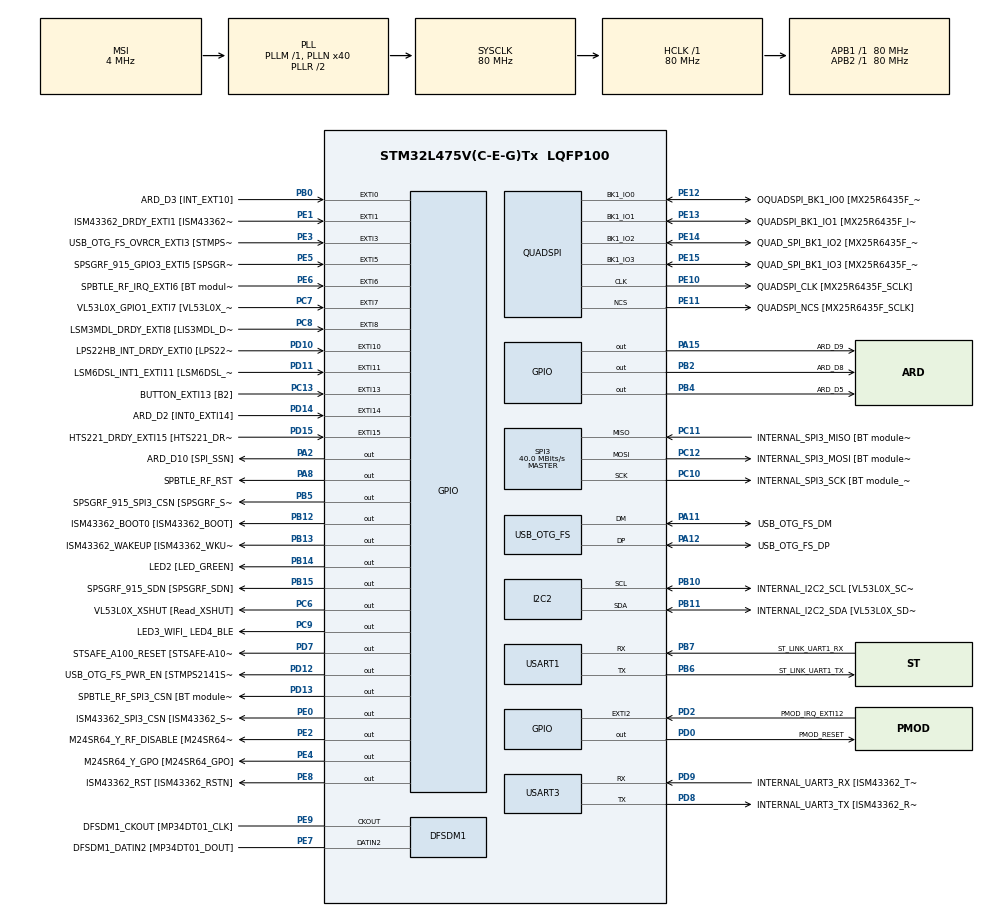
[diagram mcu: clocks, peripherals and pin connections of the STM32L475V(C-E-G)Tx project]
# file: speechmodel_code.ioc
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DFSDM1.Divider=50
DFSDM1.DmaMode_reg_FIL0=ENABLE
DFSDM1.DmaMode_reg_FIL1=ENABLE
DFSDM1.FastMode_reg_FIL0=ENABLE
DFSDM1.FastMode_reg_FIL1=ENABLE
DFSDM1.FilterOrder_CH1=DFSDM_CHANNEL_FASTSINC_ORDER
DFSDM1.FilterOrder_CH2=DFSDM_CHANNEL_FASTSINC_ORDER
DFSDM1.Filter_regChannel_FIL0=DFSDM_CHANNEL_1
DFSDM1.Filter_regChannel_FIL1=DFSDM_CHANNEL_2
DFSDM1.Fosr_FIL0=200
DFSDM1.Fosr_FIL1=200
DFSDM1.Iosr_FIL0=1
DFSDM1.RightBitShift_CH1=0x00
DFSDM1.SincOrder_FIL0=DFSDM_FILTER_SINC3_ORDER
DFSDM1.SincOrder_FIL1=DFSDM_FILTER_SINC3_ORDER
DFSDM1.Type_spi_CH2=DFSDM_CHANNEL_SPI_FALLING
Dma.DFSDM1_FLT0.0.Direction=DMA_PERIPH_TO_MEMORY
Dma.DFSDM1_FLT0.0.Instance=DMA1_Channel4
Dma.DFSDM1_FLT0.0.MemDataAlignment=DMA_MDATAALIGN_HALFWORD
Dma.DFSDM1_FLT0.0.MemInc=DMA_MINC_ENABLE
Dma.DFSDM1_FLT0.0.Mode=DMA_CIRCULAR
Dma.DFSDM1_FLT0.0.PeriphDataAlignment=DMA_PDATAALIGN_HALFWORD
Dma.DFSDM1_FLT0.0.PeriphInc=DMA_PINC_DISABLE
Dma.DFSDM1_FLT0.0.Priority=DMA_PRIORITY_HIGH
Dma.DFSDM1_FLT1.1.Direction=DMA_PERIPH_TO_MEMORY
Dma.DFSDM1_FLT1.1.Instance=DMA1_Channel5
Dma.DFSDM1_FLT1.1.MemDataAlignment=DMA_MDATAALIGN_HALFWORD
Dma.DFSDM1_FLT1.1.MemInc=DMA_MINC_ENABLE
Dma.DFSDM1_FLT1.1.Mode=DMA_CIRCULAR
Dma.DFSDM1_FLT1.1.PeriphDataAlignment=DMA_PDATAALIGN_HALFWORD
Dma.DFSDM1_FLT1.1.PeriphInc=DMA_PINC_DISABLE
Dma.DFSDM1_FLT1.1.Priority=DMA_PRIORITY_HIGH
Dma.Request0=DFSDM1_FLT0
Dma.Request1=DFSDM1_FLT1
I2C2.Timing=0x10909CEC
Mcu.Family=STM32L4
Mcu.Name=STM32L475V(C-E-G)Tx
Mcu.Package=LQFP100
NVIC.DMA1_Channel4_IRQn=true\:0\:0\:false\:false\:true\:false\:true\:true
NVIC.DMA1_Channel5_IRQn=true\:0\:0\:false\:false\:true\:false\:true\:true
NVIC.EXTI15_10_IRQn=true\:0\:0\:false\:false\:true\:true\:true\:true
NVIC.EXTI9_5_IRQn=true\:0\:0\:false\:false\:true\:true\:true\:true
NVIC.PriorityGroup=NVIC_PRIORITYGROUP_4
PA0.GPIO_Label=ARD_D1 [UART4_TX]
PA0.Signal=UART4_TX
PA1.GPIO_Label=ARD_D0 [UART4_RX]
PA1.Signal=UART4_RX
PA10.GPIO_Label=USB_OTG_FS_ID
PA10.Signal=USB_OTG_FS_ID
PA11.GPIO_Label=USB_OTG_FS_DM
PA11.Mode=Device_Only
PA11.Signal=USB_OTG_FS_DM
PA12.GPIO_Label=USB_OTG_FS_DP
PA12.Mode=Device_Only
PA12.Signal=USB_OTG_FS_DP
PA13\ (JTMS-SWDIO).GPIO_Label=SYS_JTMS_SWDIO
PA13\ (JTMS-SWDIO).Mode=Serial_Wire
PA13\ (JTMS-SWDIO).Signal=SYS_JTMS-SWDIO
PA14\ (JTCK-SWCLK).GPIO_Label=SYS_JTCK_SWCLK
PA14\ (JTCK-SWCLK).Mode=Serial_Wire
PA14\ (JTCK-SWCLK).Signal=SYS_JTCK-SWCLK
PA15\ (JTDI).GPIO_Label=ARD_D9
PA15\ (JTDI).Signal=GPIO_Output
PA2.GPIO_Label=ARD_D10 [SPI_SSN]
PA2.Signal=GPIO_Output
PA3.GPIO_Label=ARD_D4
PA3.Signal=S_TIM2_CH4
PA4.GPIO_Label=ARD_D7
PA4.Signal=ADCx_IN9
PA5.GPIO_Label=ARD_D13 [SPI1_SCK]
PA5.Signal=SPI1_SCK
PA6.GPIO_Label=ARD_D12 [SPI1_MISO]
PA6.Signal=SPI1_MISO
PA7.GPIO_Label=ARD_D11 [SPI1_MOSI]
PA7.Signal=SPI1_MOSI
PA8.GPIO_Label=SPBTLE_RF_RST
PA8.Signal=GPIO_Output
PA9.GPIO_Label=USB_OTG_FS_VBUS [STMPS2141STR_OUT]
PA9.Signal=USB_OTG_FS_VBUS
PB0.GPIO_Label=ARD_D3 [INT_EXT10]
PB0.Signal=GPXTI0
PB1.GPIO_Label=ARD_D6 [ADC1_IN6]
PB1.Signal=ADCx_IN16
PB10.GPIO_Label=INTERNAL_I2C2_SCL [VL53L0X_SCL]
PB10.GPIO_Pu=GPIO_PULLUP
PB10.Mode=I2C
PB10.Signal=I2C2_SCL
PB11.GPIO_Label=INTERNAL_I2C2_SDA [VL53L0X_SDA]
PB11.GPIO_Pu=GPIO_PULLUP
PB11.Mode=I2C
PB11.Signal=I2C2_SDA
PB12.GPIO_Label=ISM43362_BOOT0 [ISM43362_BOOT]
PB12.Signal=GPIO_Output
PB13.GPIO_Label=ISM43362_WAKEUP [ISM43362_WKUP]
PB13.Signal=GPIO_Output
PB14.GPIO_Label=LED2 [LED_GREEN]
PB14.Signal=GPIO_Output
PB15.GPIO_Label=SPSGRF_915_SDN [SPSGRF_SDN]
PB15.Signal=GPIO_Output
PB2.GPIO_Label=ARD_D8
PB2.Signal=GPIO_Output
PB3\ (JTDO-TRACESWO).GPIO_Label=SYS_JTD0_SWO
PB3\ (JTDO-TRACESWO).Signal=SYS_JTDO-SWO
PB4\ (NJTRST).GPIO_Label=ARD_D5
PB4\ (NJTRST).Signal=GPIO_Output
PB5.GPIO_Label=SPSGRF_915_SPI3_CSN [SPSGRF_SPI_CS]
PB5.PinState=GPIO_PIN_SET
PB5.Signal=GPIO_Output
PB6.GPIO_Label=ST_LINK_UART1_TX
PB6.Mode=Asynchronous
PB6.Signal=USART1_TX
PB7.GPIO_Label=ST_LINK_UART1_RX
PB7.Mode=Asynchronous
PB7.Signal=USART1_RX
PB8.GPIO_Label=ARD_D15 [I2C1_SCL]
PB8.Signal=I2C1_SCL
PB9.GPIO_Label=ARD_D14 [I2C1_SDA]
PB9.Signal=I2C1_SDA
PC0.GPIO_Label=ARD_A5 [ADC]
PC0.Signal=ADCx_IN1
PC1.GPIO_Label=ARD_A4 [ADC]
PC1.Signal=ADCx_IN2
PC10.GPIO_Label=INTERNAL_SPI3_SCK [BT module_SPI_SCLK] [ISM43362_SCK]
PC10.Mode=Full_Duplex_Master
PC10.Signal=SPI3_SCK
PC11.GPIO_Label=INTERNAL_SPI3_MISO [BT module_SPI_MISO] [ISM43362_MISO]
PC11.Mode=Full_Duplex_Master
PC11.Signal=SPI3_MISO
PC12.GPIO_Label=INTERNAL_SPI3_MOSI [BT module_SPI_MOSI] [ISM43362_MOSI]
PC12.Mode=Full_Duplex_Master
PC12.Signal=SPI3_MOSI
PC13.GPIO_Label=BUTTON_EXTI13 [B2]
PC13.GPIO_ModeDefaultEXTI=GPIO_MODE_IT_FALLING
PC13.Signal=GPXTI13
PC14-OSC32_IN\ (PC14).Mode=LSE-External-Oscillator
PC14-OSC32_IN\ (PC14).Signal=RCC_OSC32_IN
PC15-OSC32_OUT\ (PC15).Mode=LSE-External-Oscillator
PC15-OSC32_OUT\ (PC15).Signal=RCC_OSC32_OUT
PC2.GPIO_Label=ARD_A3 [ADC]
PC2.Signal=ADCx_IN3
PC3.GPIO_Label=ARD_A2 [ADC]
PC3.Signal=ADCx_IN4
PC4.GPIO_Label=ARD_A1 [ADC]
PC4.Signal=ADCx_IN13
PC5.GPIO_Label=ARD_A0 [ADC]
PC5.Signal=ADCx_IN14
PC6.GPIO_Label=VL53L0X_XSHUT [Read_XSHUT]
PC6.Signal=GPIO_Output
PC7.GPIO_Label=VL53L0X_GPIO1_EXTI7 [VL53L0X_GPIO1]
PC7.Signal=GPXTI7
PC8.GPIO_Label=LSM3MDL_DRDY_EXTI8 [LIS3MDL_DRDY]
PC8.Signal=GPXTI8
PC9.GPIO_Label=LED3_WIFI_ LED4_BLE
PC9.Signal=GPIO_Output
PD0.GPIO_Label=PMOD_RESET
PD0.Signal=GPIO_Output
PD1.GPIO_Label=PMOD_SPI2_SCK
PD1.Signal=SPI2_SCK
PD10.GPIO_Label=LPS22HB_INT_DRDY_EXTI0 [LPS22HB_INT_DRDY] 
PD10.Signal=GPXTI10
PD11.GPIO_Label=LSM6DSL_INT1_EXTI11 [LSM6DSL_INT1]
PD11.Signal=GPXTI11
PD12.GPIO_Label=USB_OTG_FS_PWR_EN [STMPS2141STR_EN]
PD12.Signal=GPIO_Output
PD13.GPIO_Label=SPBTLE_RF_SPI3_CSN [BT module_SPI_CS]
PD13.PinState=GPIO_PIN_SET
PD13.Signal=GPIO_Output
PD14.GPIO_Label=ARD_D2 [INT0_EXTI14]
PD14.Signal=GPXTI14
PD15.GPIO_Label=HTS221_DRDY_EXTI15 [HTS221_DRDY]
PD15.Signal=GPXTI15
PD2.GPIO_Label=PMOD_IRQ_EXTI12
PD2.Signal=GPXTI2
PD3.GPIO_Label=PMOD_UART2_CTS
PD3.Signal=USART2_CTS
PD4.GPIO_Label=PMOD_UART2_RTS
PD4.Signal=USART2_RTS
PD5.GPIO_Label=PMOD_UART2_TX
PD5.Signal=USART2_TX
PD6.GPIO_Label=PMOD_UART2_RX
PD6.Signal=USART2_RX
PD7.GPIO_Label=STSAFE_A100_RESET [STSAFE-A100_RESET]
PD7.Signal=GPIO_Output
PD8.GPIO_Label=INTERNAL_UART3_TX [ISM43362_RX]
PD8.Mode=Asynchronous
PD8.Signal=USART3_TX
PD9.GPIO_Label=INTERNAL_UART3_RX [ISM43362_TX]
PD9.Mode=Asynchronous
PD9.Signal=USART3_RX
PE0.GPIO_Label=ISM43362_SPI3_CSN [ISM43362_SSN]
PE0.PinState=GPIO_PIN_SET
PE0.Signal=GPIO_Output
PE1.GPIO_Label=ISM43362_DRDY_EXTI1 [ISM43362_DATARDY]
PE1.Signal=GPXTI1
PE10.GPIO_Label=QUADSPI_CLK [MX25R6435F_SCLK]
PE10.Mode=Single Bank
PE10.Signal=QUADSPI_CLK
PE11.GPIO_Label=QUADSPI_NCS [MX25R6435F_SCLK]
PE11.Mode=Single Bank
PE11.Signal=QUADSPI_NCS
PE12.GPIO_Label=OQUADSPI_BK1_IO0 [MX25R6435F_IO0]
PE12.Mode=Single Bank
PE12.Signal=QUADSPI_BK1_IO0
PE13.GPIO_Label=QUADSPI_BK1_IO1 [MX25R6435F_IO1]
PE13.Mode=Single Bank
PE13.Signal=QUADSPI_BK1_IO1
PE14.GPIO_Label=QUAD_SPI_BK1_IO2 [MX25R6435F_IO2]
PE14.Mode=Single Bank
PE14.Signal=QUADSPI_BK1_IO2
PE15.GPIO_Label=QUAD_SPI_BK1_IO3 [MX25R6435F_IO3]
PE15.Mode=Single Bank
PE15.Signal=QUADSPI_BK1_IO3
PE2.GPIO_Label=M24SR64_Y_RF_DISABLE [M24SR64_RFDIS]
PE2.Signal=GPIO_Output
PE3.GPIO_Label=USB_OTG_FS_OVRCR_EXTI3 [STMPS2141STR_FAULT]
PE3.Signal=GPXTI3
PE4.GPIO_Label=M24SR64_Y_GPO [M24SR64_GPO]
PE4.Signal=GPIO_Output
PE5.GPIO_Label=SPSGRF_915_GPIO3_EXTI5 [SPSGRF_GPIO_3]
PE5.Signal=GPXTI5
PE6.GPIO_Label=SPBTLE_RF_IRQ_EXTI6 [BT module_SPI_IRQ]
PE6.Signal=GPXTI6
PE7.GPIO_Label=DFSDM1_DATIN2 [MP34DT01_DOUT]
PE7.Signal=S_DATAIN2DFSDM1
PE8.GPIO_Label=ISM43362_RST [ISM43362_RSTN]
PE8.Signal=GPIO_Output
PE9.GPIO_Label=DFSDM1_CKOUT [MP34DT01_CLK]
PE9.Signal=S_CKOUTDFSDM1
ProjectManager.HeapSize=0x800
ProjectManager.StackSize=0x800
ProjectManager.TargetToolchain=Makefile
QUADSPI.ClockPrescaler=2
QUADSPI.FifoThreshold=4
QUADSPI.FlashSize=23
QUADSPI.SampleShifting=QSPI_SAMPLE_SHIFTING_HALFCYCLE
RCC.ADCFreq_Value=48000000
RCC.AHBFreq_Value=80000000
RCC.APB1Freq_Value=80000000
RCC.APB1TimFreq_Value=80000000
RCC.APB2Freq_Value=80000000
RCC.APB2TimFreq_Value=80000000
RCC.CortexFreq_Value=80000000
RCC.HCLKFreq_Value=80000000
RCC.HSE_VALUE=8000000
RCC.HSI_VALUE=16000000
RCC.MSI_VALUE=4000000
RCC.PLLN=40
RCC.PLLSAI1N=24
RCC.SYSCLKFreq_VALUE=80000000
RCC.SYSCLKSource=RCC_SYSCLKSOURCE_PLLCLK
RCC.USBFreq_Value=48000000
RCC.VCOOutputFreq_Value=160000000
SH.ADCx_IN1.0=ADC1_IN1
SH.ADCx_IN13.0=ADC1_IN13
SH.ADCx_IN14.0=ADC1_IN14
SH.ADCx_IN16.0=ADC1_IN16
SH.ADCx_IN2.0=ADC1_IN2
SH.ADCx_IN3.0=ADC1_IN3
SH.ADCx_IN4.0=ADC1_IN4
SH.ADCx_IN9.0=ADC1_IN9
SH.S_CKOUTDFSDM1.0=DFSDM1_CKOUT,CKOUT
SH.S_CKOUTDFSDM1.1=DFSDM1_CKOUT,PDM_SPI_Input_from_ch12_and_Internal_Clock
SH.S_CKOUTDFSDM1.2=DFSDM1_CKOUT,PDM_SPI_input_from_ch2_and_internal_clock
SH.S_DATAIN2DFSDM1.0=DFSDM1_DATIN2,PDM_SPI_Input_from_ch12_and_Internal_Clock
SH.S_DATAIN2DFSDM1.1=DFSDM1_DATIN2,PDM_SPI_input_from_ch2_and_internal_clock
SH.S_TIM2_CH4.0=TIM2_CH4
SPI3.CalculateBaudRate=40.0 MBits/s
SPI3.Direction=SPI_DIRECTION_2LINES
SPI3.Mode=SPI_MODE_MASTER
SPI3.VirtualType=VM_MASTER
STMicroelectronics.X-CUBE-AI.8.1.0.ActivationBufferSizeList=64288
STMicroelectronics.X-CUBE-AI.8.1.0.ActivationBuffers=pool0
STMicroelectronics.X-CUBE-AI.8.1.0.ActivationNames=pool0
STMicroelectronics.X-CUBE-AI.8.1.0.ActivationSizes=AI_SPEECH_DATA_ACTIVATION_1_SIZE
STMicroelectronics.X-CUBE-AI.8.1.0.ApplicationCcDeviceJjApplication=ApplicationTemplate
STMicroelectronics.X-CUBE-AI.8.1.0.HeapSize=0x800
STMicroelectronics.X-CUBE-AI.8.1.0.InternalRamActivationBufferMaxSize=AI_SPEECH_DATA_ACTIVATIONS_SIZE
STMicroelectronics.X-CUBE-AI.8.1.0.LatestDirectoryUsed-5024f5ebc0015fcbfd030fa10bb32df04086baa16817f095d9bf21b7321e0f96=/home/nb/repos/speech_commands
STMicroelectronics.X-CUBE-AI.8.1.0.MaximumNumberOfInputLayer=1
STMicroelectronics.X-CUBE-AI.8.1.0.MaximumNumberOfOutputLayer=1
STMicroelectronics.X-CUBE-AI.8.1.0.MaximumSizeOfInputLayer=1
STMicroelectronics.X-CUBE-AI.8.1.0.MaximumSizeOfOutputLayer=1
STMicroelectronics.X-CUBE-AI.8.1.0.ModelActualCompression-5024f5ebc0015fcbfd030fa10bb32df04086baa16817f095d9bf21b7321e0f96=0.0
STMicroelectronics.X-CUBE-AI.8.1.0.ModelCompression-5024f5ebc0015fcbfd030fa10bb32df04086baa16817f095d9bf21b7321e0f96=None
STMicroelectronics.X-CUBE-AI.8.1.0.ModelFlashOccupation-5024f5ebc0015fcbfd030fa10bb32df04086baa16817f095d9bf21b7321e0f96=128144
STMicroelectronics.X-CUBE-AI.8.1.0.ModelHashList=5024f5ebc0015fcbfd030fa10bb32df04086baa16817f095d9bf21b7321e0f96
STMicroelectronics.X-CUBE-AI.8.1.0.ModelKind-5024f5ebc0015fcbfd030fa10bb32df04086baa16817f095d9bf21b7321e0f96=ONNX
STMicroelectronics.X-CUBE-AI.8.1.0.ModelMacc-5024f5ebc0015fcbfd030fa10bb32df04086baa16817f095d9bf21b7321e0f96=818760
STMicroelectronics.X-CUBE-AI.8.1.0.ModelName-5024f5ebc0015fcbfd030fa10bb32df04086baa16817f095d9bf21b7321e0f96=speech
STMicroelectronics.X-CUBE-AI.8.1.0.ModelNameList=speech
STMicroelectronics.X-CUBE-AI.8.1.0.ModelRamOccupation-5024f5ebc0015fcbfd030fa10bb32df04086baa16817f095d9bf21b7321e0f96=64288
STMicroelectronics.X-CUBE-AI.8.1.0.ModelStructureFile-5024f5ebc0015fcbfd030fa10bb32df04086baa16817f095d9bf21b7321e0f96=/home/nb/repos/speech_commands/model_onnx_8000hz.onnx
STMicroelectronics.X-CUBE-AI.8.1.0.ModelType-5024f5ebc0015fcbfd030fa10bb32df04086baa16817f095d9bf21b7321e0f96=Saved model
STMicroelectronics.X-CUBE-AI.8.1.0.ReadyForCodeGeneration=true
STMicroelectronics.X-CUBE-AI.8.1.0.StackSize=0x800
STMicroelectronics.X-CUBE-AI.8.1.0.WorkingBufferStartAddrList=0xFFFFFFFF
STMicroelectronics.X-CUBE-AI.8.1.0.XAaCUBEAaAICcArtificialOoIntelligenceJjCore=true
STMicroelectronics.X-CUBE-AI.8.1.0.copyWeightToRam=false
STMicroelectronics.X-CUBE-AI.8.1.0.copyWeightToRam-5024f5ebc0015fcbfd030fa10bb32df04086baa16817f095d9bf21b7321e0f96=false
STMicroelectronics.X-CUBE-AI.8.1.0.customLayerConfigEnabled=false
STMicroelectronics.X-CUBE-AI.8.1.0.customLayerConfigEnabled-5024f5ebc0015fcbfd030fa10bb32df04086baa16817f095d9bf21b7321e0f96=false
STMicroelectronics.X-CUBE-AI.8.1.0.noOnnxIoTranspose=false
STMicroelectronics.X-CUBE-AI.8.1.0.noOnnxIoTranspose-5024f5ebc0015fcbfd030fa10bb32df04086baa16817f095d9bf21b7321e0f96=false
STMicroelectronics.X-CUBE-AI.8.1.0.outputDirectory=/home/nb/.stm32cubemx/speech_output
STMicroelectronics.X-CUBE-AI.8.1.0.outputDirectory-5024f5ebc0015fcbfd030fa10bb32df04086baa16817f095d9bf21b7321e0f96=/home/nb/.stm32cubemx/speech_output
STMicroelectronics.X-CUBE-AI.8.1.0.useInputAllocation=true
STMicroelectronics.X-CUBE-AI.8.1.0.useInputAllocation-5024f5ebc0015fcbfd030fa10bb32df04086baa16817f095d9bf21b7321e0f96=true
STMicroelectronics.X-CUBE-AI.8.1.0.useOutputAllocation=true
STMicroelectronics.X-CUBE-AI.8.1.0.useOutputAllocation-5024f5ebc0015fcbfd030fa10bb32df04086baa16817f095d9bf21b7321e0f96=true
USART1.VirtualMode-Asynchronous=VM_ASYNC
USART3.VirtualMode-Asynchronous=VM_ASYNC
USB_OTG_FS.VirtualMode=Device_Only
VP_CRC_VS_CRC.Mode=CRC_Activate
VP_STMicroelectronics.X-CUBE-AI_VS_ArtificialOoIntelligenceJjXAaCUBEAaAI_8.1.0.Mode=ArtificialOoIntelligenceJjXAaCUBEAaAI
VP_STMicroelectronics.X-CUBE-AI_VS_DeviceJjApplication_8.1.0.Mode=DeviceJjApplication
board=B-L475E-IOT01A1

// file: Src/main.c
/* USER CODE BEGIN Header */
/**
  ******************************************************************************
  * @file           : main.c
  * @brief          : Main program body
  ******************************************************************************
  * @attention
  *
  * Copyright (c) 2023 STMicroelectronics.
  * All rights reserved.
  *
  * This software is licensed under terms that can be found in the LICENSE file
  * in the root directory of this software component.
  * If no LICENSE file comes with this software, it is provided AS-IS.
  *
  ******************************************************************************
  */
/* USER CODE END Header */
#include "main.h"
#include "app_x-cube-ai.h"

/* USER CODE BEGIN Includes */
#include <stdlib.h>
#include <stdio.h>

/* USER CODE END Includes */

CRC_HandleTypeDef hcrc;

DFSDM_Filter_HandleTypeDef hdfsdm1_filter0;
DFSDM_Filter_HandleTypeDef hdfsdm1_filter1;
DFSDM_Channel_HandleTypeDef hdfsdm1_channel1;
DFSDM_Channel_HandleTypeDef hdfsdm1_channel2;
DMA_HandleTypeDef hdma_dfsdm1_flt0;
DMA_HandleTypeDef hdma_dfsdm1_flt1;

I2C_HandleTypeDef hi2c2;

QSPI_HandleTypeDef hqspi;

SPI_HandleTypeDef hspi3;

UART_HandleTypeDef huart1;
UART_HandleTypeDef huart3;

PCD_HandleTypeDef hpcd_USB_OTG_FS;

/* USER CODE BEGIN PV */
#define DMA_CHUNK_SIZE 2000
#define DMA_HALF_CHUNK_SIZE DMA_CHUNK_SIZE/2
volatile static int16_t input_buf_l[DMA_CHUNK_SIZE] __attribute__((aligned(4)));
/* USER CODE END PV */

void SystemClock_Config(void);
static void MX_GPIO_Init(void);
static void MX_DMA_Init(void);
static void MX_CRC_Init(void);
static void MX_DFSDM1_Init(void);
static void MX_I2C2_Init(void);
static void MX_QUADSPI_Init(void);
static void MX_SPI3_Init(void);
static void MX_USART1_UART_Init(void);
static void MX_USART3_UART_Init(void);
static void MX_USB_OTG_FS_PCD_Init(void);

/* USER CODE BEGIN 0 */
int _write(int file, char *ptr, int len) {
    // Implement USART write
    HAL_UART_Transmit(&huart1, (uint8_t *)ptr, len, 10); // Transmit data over USART
    return len; // Return the number of characters written
}
/* USER CODE END 0 */

int main(void)
{

  /* MCU Configuration--------------------------------------------------------*/

  /* Reset of all peripherals, Initializes the Flash interface and the Systick. */
  HAL_Init();

  /* Configure the system clock */
  SystemClock_Config();

  /* Initialize all configured peripherals */
  MX_GPIO_Init();
  MX_DMA_Init();
  MX_CRC_Init();
  MX_DFSDM1_Init();
  MX_I2C2_Init();
  MX_QUADSPI_Init();
  MX_SPI3_Init();
  MX_USART1_UART_Init();
  MX_USART3_UART_Init();
  MX_USB_OTG_FS_PCD_Init();
  MX_X_CUBE_AI_Init();
  /* USER CODE BEGIN 2 */

  printf("Attempting init of fdsdm\n\r");
  // Hacky: We HAL_FDSDM_FilterRegularStart_DMA expects pointers to
  // 32bit arrays and a read length in multiples of 32bit. However,
  // we configured the DMA to be operating on half-words and read 8000 16bit values to conserve memory.
      //Use this instead once we don't right shift by 8 bits anymore:
      //Even without the 8bit shift, we can't read 8000 samples here.
      //The length might be in 32bit. Unclear.
  if (HAL_DFSDM_FilterRegularMsbStart_DMA(&hdfsdm1_filter1, input_buf_l , DMA_CHUNK_SIZE ) != HAL_OK){
  // This might help:
  //https://codebrowser.dev/linux/linux/drivers/iio/adc/stm32-dfsdm-adc.c.html#stm32h7_dfsdm_audio_data
  //Most promising:
  //https://github.com/ryankurte/stm32-base/blob/master/drivers/BSP/STM32F769I-Discovery/stm32f769i_discovery_audio.c#L1731
  //if (HAL_DFSDM_FilterRegularStart_DMA(&hdfsdm1_filter1, input_buf_l , 8000 ) != HAL_OK){
    printf("FDSDM Filter 0 failed\n\r");
  }else{
    printf("FDSDM Filter 0 ok\n\r");
  }

  int f_s = SystemCoreClock / hdfsdm1_channel2.Init.OutputClock.Divider
      / hdfsdm1_filter0.Init.FilterParam.Oversampling
      / hdfsdm1_filter0.Init.FilterParam.IntOversampling;

  printf("audio_sampling_frequence:%i Hz \n\r", f_s);
  /* USER CODE END 2 */

  /* Infinite loop */
  /* USER CODE BEGIN WHILE */
  printf("Init Complete\n\r");
  // Just want to check if this actually exists.
  while (1)
  {
    /* USER CODE END WHILE */

  MX_X_CUBE_AI_Process();
  }
}

void SystemClock_Config(void)
{
  RCC_OscInitTypeDef RCC_OscInitStruct = {0};
  RCC_ClkInitTypeDef RCC_ClkInitStruct = {0};

  /** Configure the main internal regulator output voltage
  */
  if (HAL_PWREx_ControlVoltageScaling(PWR_REGULATOR_VOLTAGE_SCALE1) != HAL_OK)
  {
    Error_Handler();
  }

  /** Configure LSE Drive Capability
  */
  HAL_PWR_EnableBkUpAccess();
  __HAL_RCC_LSEDRIVE_CONFIG(RCC_LSEDRIVE_LOW);

  /** Initializes the RCC Oscillators according to the specified parameters
  * in the RCC_OscInitTypeDef structure.
  */
  RCC_OscInitStruct.OscillatorType = RCC_OSCILLATORTYPE_LSE|RCC_OSCILLATORTYPE_MSI;
  RCC_OscInitStruct.LSEState = RCC_LSE_ON;
  RCC_OscInitStruct.MSIState = RCC_MSI_ON;
  RCC_OscInitStruct.MSICalibrationValue = 0;
  RCC_OscInitStruct.MSIClockRange = RCC_MSIRANGE_6;
  RCC_OscInitStruct.PLL.PLLState = RCC_PLL_ON;
  RCC_OscInitStruct.PLL.PLLSource = RCC_PLLSOURCE_MSI;
  RCC_OscInitStruct.PLL.PLLM = 1;
  RCC_OscInitStruct.PLL.PLLN = 40;
  RCC_OscInitStruct.PLL.PLLP = RCC_PLLP_DIV7;
  RCC_OscInitStruct.PLL.PLLQ = RCC_PLLQ_DIV2;
  RCC_OscInitStruct.PLL.PLLR = RCC_PLLR_DIV2;
  if (HAL_RCC_OscConfig(&RCC_OscInitStruct) != HAL_OK)
  {
    Error_Handler();
  }

  /** Initializes the CPU, AHB and APB buses clocks
  */
  RCC_ClkInitStruct.ClockType = RCC_CLOCKTYPE_HCLK|RCC_CLOCKTYPE_SYSCLK
                              |RCC_CLOCKTYPE_PCLK1|RCC_CLOCKTYPE_PCLK2;
  RCC_ClkInitStruct.SYSCLKSource = RCC_SYSCLKSOURCE_PLLCLK;
  RCC_ClkInitStruct.AHBCLKDivider = RCC_SYSCLK_DIV1;
  RCC_ClkInitStruct.APB1CLKDivider = RCC_HCLK_DIV1;
  RCC_ClkInitStruct.APB2CLKDivider = RCC_HCLK_DIV1;

  if (HAL_RCC_ClockConfig(&RCC_ClkInitStruct, FLASH_LATENCY_4) != HAL_OK)
  {
    Error_Handler();
  }

  /** Enable MSI Auto calibration
  */
  HAL_RCCEx_EnableMSIPLLMode();
}

static void MX_CRC_Init(void)
{

  hcrc.Instance = CRC;
  hcrc.Init.DefaultPolynomialUse = DEFAULT_POLYNOMIAL_ENABLE;
  hcrc.Init.DefaultInitValueUse = DEFAULT_INIT_VALUE_ENABLE;
  hcrc.Init.InputDataInversionMode = CRC_INPUTDATA_INVERSION_NONE;
  hcrc.Init.OutputDataInversionMode = CRC_OUTPUTDATA_INVERSION_DISABLE;
  hcrc.InputDataFormat = CRC_INPUTDATA_FORMAT_BYTES;
  if (HAL_CRC_Init(&hcrc) != HAL_OK)
  {
    Error_Handler();
  }

}

static void MX_DFSDM1_Init(void)
{

  hdfsdm1_filter0.Instance = DFSDM1_Filter0;
  hdfsdm1_filter0.Init.RegularParam.Trigger = DFSDM_FILTER_SW_TRIGGER;
  hdfsdm1_filter0.Init.RegularParam.FastMode = ENABLE;
  hdfsdm1_filter0.Init.RegularParam.DmaMode = ENABLE;
  hdfsdm1_filter0.Init.FilterParam.SincOrder = DFSDM_FILTER_SINC3_ORDER;
  hdfsdm1_filter0.Init.FilterParam.Oversampling = 200;
  hdfsdm1_filter0.Init.FilterParam.IntOversampling = 1;
  if (HAL_DFSDM_FilterInit(&hdfsdm1_filter0) != HAL_OK)
  {
    Error_Handler();
  }
  hdfsdm1_filter1.Instance = DFSDM1_Filter1;
  hdfsdm1_filter1.Init.RegularParam.Trigger = DFSDM_FILTER_SW_TRIGGER;
  hdfsdm1_filter1.Init.RegularParam.FastMode = ENABLE;
  hdfsdm1_filter1.Init.RegularParam.DmaMode = ENABLE;
  hdfsdm1_filter1.Init.FilterParam.SincOrder = DFSDM_FILTER_SINC3_ORDER;
  hdfsdm1_filter1.Init.FilterParam.Oversampling = 200;
  hdfsdm1_filter1.Init.FilterParam.IntOversampling = 1;
  if (HAL_DFSDM_FilterInit(&hdfsdm1_filter1) != HAL_OK)
  {
    Error_Handler();
  }
  hdfsdm1_channel1.Instance = DFSDM1_Channel1;
  hdfsdm1_channel1.Init.OutputClock.Activation = ENABLE;
  hdfsdm1_channel1.Init.OutputClock.Selection = DFSDM_CHANNEL_OUTPUT_CLOCK_SYSTEM;
  hdfsdm1_channel1.Init.OutputClock.Divider = 50;
  hdfsdm1_channel1.Init.Input.Multiplexer = DFSDM_CHANNEL_EXTERNAL_INPUTS;
  hdfsdm1_channel1.Init.Input.DataPacking = DFSDM_CHANNEL_STANDARD_MODE;
  hdfsdm1_channel1.Init.Input.Pins = DFSDM_CHANNEL_FOLLOWING_CHANNEL_PINS;
  hdfsdm1_channel1.Init.SerialInterface.Type = DFSDM_CHANNEL_SPI_RISING;
  hdfsdm1_channel1.Init.SerialInterface.SpiClock = DFSDM_CHANNEL_SPI_CLOCK_INTERNAL;
  hdfsdm1_channel1.Init.Awd.FilterOrder = DFSDM_CHANNEL_FASTSINC_ORDER;
  hdfsdm1_channel1.Init.Awd.Oversampling = 1;
  hdfsdm1_channel1.Init.Offset = 0;
  hdfsdm1_channel1.Init.RightBitShift = 0x00;
  if (HAL_DFSDM_ChannelInit(&hdfsdm1_channel1) != HAL_OK)
  {
    Error_Handler();
  }
  hdfsdm1_channel2.Instance = DFSDM1_Channel2;
  hdfsdm1_channel2.Init.OutputClock.Activation = ENABLE;
  hdfsdm1_channel2.Init.OutputClock.Selection = DFSDM_CHANNEL_OUTPUT_CLOCK_SYSTEM;
  hdfsdm1_channel2.Init.OutputClock.Divider = 50;
  hdfsdm1_channel2.Init.Input.Multiplexer = DFSDM_CHANNEL_EXTERNAL_INPUTS;
  hdfsdm1_channel2.Init.Input.DataPacking = DFSDM_CHANNEL_STANDARD_MODE;
  hdfsdm1_channel2.Init.Input.Pins = DFSDM_CHANNEL_SAME_CHANNEL_PINS;
  hdfsdm1_channel2.Init.SerialInterface.Type = DFSDM_CHANNEL_SPI_FALLING;
  hdfsdm1_channel2.Init.SerialInterface.SpiClock = DFSDM_CHANNEL_SPI_CLOCK_INTERNAL;
  hdfsdm1_channel2.Init.Awd.FilterOrder = DFSDM_CHANNEL_FASTSINC_ORDER;
  hdfsdm1_channel2.Init.Awd.Oversampling = 1;
  hdfsdm1_channel2.Init.Offset = 0;
  hdfsdm1_channel2.Init.RightBitShift = 0x00;
  if (HAL_DFSDM_ChannelInit(&hdfsdm1_channel2) != HAL_OK)
  {
    Error_Handler();
  }
  if (HAL_DFSDM_FilterConfigRegChannel(&hdfsdm1_filter0, DFSDM_CHANNEL_1, DFSDM_CONTINUOUS_CONV_ON) != HAL_OK)
  {
    Error_Handler();
  }
  if (HAL_DFSDM_FilterConfigRegChannel(&hdfsdm1_filter1, DFSDM_CHANNEL_2, DFSDM_CONTINUOUS_CONV_ON) != HAL_OK)
  {
    Error_Handler();
  }

}

static void MX_I2C2_Init(void)
{

  hi2c2.Instance = I2C2;
  hi2c2.Init.Timing = 0x10909CEC;
  hi2c2.Init.OwnAddress1 = 0;
  hi2c2.Init.AddressingMode = I2C_ADDRESSINGMODE_7BIT;
  hi2c2.Init.DualAddressMode = I2C_DUALADDRESS_DISABLE;
  hi2c2.Init.OwnAddress2 = 0;
  hi2c2.Init.OwnAddress2Masks = I2C_OA2_NOMASK;
  hi2c2.Init.GeneralCallMode = I2C_GENERALCALL_DISABLE;
  hi2c2.Init.NoStretchMode = I2C_NOSTRETCH_DISABLE;
  if (HAL_I2C_Init(&hi2c2) != HAL_OK)
  {
    Error_Handler();
  }

  /** Configure Analogue filter
  */
  if (HAL_I2CEx_ConfigAnalogFilter(&hi2c2, I2C_ANALOGFILTER_ENABLE) != HAL_OK)
  {
    Error_Handler();
  }

  /** Configure Digital filter
  */
  if (HAL_I2CEx_ConfigDigitalFilter(&hi2c2, 0) != HAL_OK)
  {
    Error_Handler();
  }

}

static void MX_QUADSPI_Init(void)
{

  /* QUADSPI parameter configuration*/
  hqspi.Instance = QUADSPI;
  hqspi.Init.ClockPrescaler = 2;
  hqspi.Init.FifoThreshold = 4;
  hqspi.Init.SampleShifting = QSPI_SAMPLE_SHIFTING_HALFCYCLE;
  hqspi.Init.FlashSize = 23;
  hqspi.Init.ChipSelectHighTime = QSPI_CS_HIGH_TIME_1_CYCLE;
  hqspi.Init.ClockMode = QSPI_CLOCK_MODE_0;
  if (HAL_QSPI_Init(&hqspi) != HAL_OK)
  {
    Error_Handler();
  }

}

static void MX_SPI3_Init(void)
{

  /* SPI3 parameter configuration*/
  hspi3.Instance = SPI3;
  hspi3.Init.Mode = SPI_MODE_MASTER;
  hspi3.Init.Direction = SPI_DIRECTION_2LINES;
  hspi3.Init.DataSize = SPI_DATASIZE_4BIT;
  hspi3.Init.CLKPolarity = SPI_POLARITY_LOW;
  hspi3.Init.CLKPhase = SPI_PHASE_1EDGE;
  hspi3.Init.NSS = SPI_NSS_SOFT;
  hspi3.Init.BaudRatePrescaler = SPI_BAUDRATEPRESCALER_2;
  hspi3.Init.FirstBit = SPI_FIRSTBIT_MSB;
  hspi3.Init.TIMode = SPI_TIMODE_DISABLE;
  hspi3.Init.CRCCalculation = SPI_CRCCALCULATION_DISABLE;
  hspi3.Init.CRCPolynomial = 7;
  hspi3.Init.CRCLength = SPI_CRC_LENGTH_DATASIZE;
  hspi3.Init.NSSPMode = SPI_NSS_PULSE_ENABLE;
  if (HAL_SPI_Init(&hspi3) != HAL_OK)
  {
    Error_Handler();
  }

}

static void MX_USART1_UART_Init(void)
{

  huart1.Instance = USART1;
  huart1.Init.BaudRate = 115200;
  huart1.Init.WordLength = UART_WORDLENGTH_8B;
  huart1.Init.StopBits = UART_STOPBITS_1;
  huart1.Init.Parity = UART_PARITY_NONE;
  huart1.Init.Mode = UART_MODE_TX_RX;
  huart1.Init.HwFlowCtl = UART_HWCONTROL_NONE;
  huart1.Init.OverSampling = UART_OVERSAMPLING_16;
  huart1.Init.OneBitSampling = UART_ONE_BIT_SAMPLE_DISABLE;
  huart1.AdvancedInit.AdvFeatureInit = UART_ADVFEATURE_NO_INIT;
  if (HAL_UART_Init(&huart1) != HAL_OK)
  {
    Error_Handler();
  }

}

static void MX_USART3_UART_Init(void)
{

  huart3.Instance = USART3;
  huart3.Init.BaudRate = 115200;
  huart3.Init.WordLength = UART_WORDLENGTH_8B;
  huart3.Init.StopBits = UART_STOPBITS_1;
  huart3.Init.Parity = UART_PARITY_NONE;
  huart3.Init.Mode = UART_MODE_TX_RX;
  huart3.Init.HwFlowCtl = UART_HWCONTROL_NONE;
  huart3.Init.OverSampling = UART_OVERSAMPLING_16;
  huart3.Init.OneBitSampling = UART_ONE_BIT_SAMPLE_DISABLE;
  huart3.AdvancedInit.AdvFeatureInit = UART_ADVFEATURE_NO_INIT;
  if (HAL_UART_Init(&huart3) != HAL_OK)
  {
    Error_Handler();
  }

}

static void MX_USB_OTG_FS_PCD_Init(void)
{

  hpcd_USB_OTG_FS.Instance = USB_OTG_FS;
  hpcd_USB_OTG_FS.Init.dev_endpoints = 6;
  hpcd_USB_OTG_FS.Init.speed = PCD_SPEED_FULL;
  hpcd_USB_OTG_FS.Init.phy_itface = PCD_PHY_EMBEDDED;
  hpcd_USB_OTG_FS.Init.Sof_enable = DISABLE;
  hpcd_USB_OTG_FS.Init.low_power_enable = DISABLE;
  hpcd_USB_OTG_FS.Init.lpm_enable = DISABLE;
  hpcd_USB_OTG_FS.Init.battery_charging_enable = DISABLE;
  hpcd_USB_OTG_FS.Init.use_dedicated_ep1 = DISABLE;
  hpcd_USB_OTG_FS.Init.vbus_sensing_enable = DISABLE;
  if (HAL_PCD_Init(&hpcd_USB_OTG_FS) != HAL_OK)
  {
    Error_Handler();
  }

}

static void MX_DMA_Init(void)
{

  /* DMA controller clock enable */
  __HAL_RCC_DMA1_CLK_ENABLE();

  /* DMA interrupt init */
  /* DMA1_Channel4_IRQn interrupt configuration */
  HAL_NVIC_SetPriority(DMA1_Channel4_IRQn, 0, 0);
  HAL_NVIC_EnableIRQ(DMA1_Channel4_IRQn);
  /* DMA1_Channel5_IRQn interrupt configuration */
  HAL_NVIC_SetPriority(DMA1_Channel5_IRQn, 0, 0);
  HAL_NVIC_EnableIRQ(DMA1_Channel5_IRQn);

}

static void MX_GPIO_Init(void)
{
  GPIO_InitTypeDef GPIO_InitStruct = {0};

  /* GPIO Ports Clock Enable */
  __HAL_RCC_GPIOE_CLK_ENABLE();
  __HAL_RCC_GPIOC_CLK_ENABLE();
  __HAL_RCC_GPIOA_CLK_ENABLE();
  __HAL_RCC_GPIOB_CLK_ENABLE();
  __HAL_RCC_GPIOD_CLK_ENABLE();

  /*Configure GPIO pin Output Level */
  HAL_GPIO_WritePin(GPIOE, M24SR64_Y_RF_DISABLE_Pin|M24SR64_Y_GPO_Pin|ISM43362_RST_Pin, GPIO_PIN_RESET);

  /*Configure GPIO pin Output Level */
  HAL_GPIO_WritePin(GPIOA, ARD_D10_Pin|SPBTLE_RF_RST_Pin|ARD_D9_Pin, GPIO_PIN_RESET);

  /*Configure GPIO pin Output Level */
  HAL_GPIO_WritePin(GPIOB, ARD_D8_Pin|ISM43362_BOOT0_Pin|ISM43362_WAKEUP_Pin|LED2_Pin
                          |SPSGRF_915_SDN_Pin|ARD_D5_Pin, GPIO_PIN_RESET);

  /*Configure GPIO pin Output Level */
  HAL_GPIO_WritePin(GPIOD, USB_OTG_FS_PWR_EN_Pin|PMOD_RESET_Pin|STSAFE_A100_RESET_Pin, GPIO_PIN_RESET);

  /*Configure GPIO pin Output Level */
  HAL_GPIO_WritePin(SPBTLE_RF_SPI3_CSN_GPIO_Port, SPBTLE_RF_SPI3_CSN_Pin, GPIO_PIN_SET);

  /*Configure GPIO pin Output Level */
  HAL_GPIO_WritePin(GPIOC, VL53L0X_XSHUT_Pin|LED3_WIFI__LED4_BLE_Pin, GPIO_PIN_RESET);

  /*Configure GPIO pin Output Level */
  HAL_GPIO_WritePin(SPSGRF_915_SPI3_CSN_GPIO_Port, SPSGRF_915_SPI3_CSN_Pin, GPIO_PIN_SET);

  /*Configure GPIO pin Output Level */
  HAL_GPIO_WritePin(ISM43362_SPI3_CSN_GPIO_Port, ISM43362_SPI3_CSN_Pin, GPIO_PIN_SET);

  /*Configure GPIO pins : M24SR64_Y_RF_DISABLE_Pin M24SR64_Y_GPO_Pin ISM43362_RST_Pin ISM43362_SPI3_CSN_Pin */
  GPIO_InitStruct.Pin = M24SR64_Y_RF_DISABLE_Pin|M24SR64_Y_GPO_Pin|ISM43362_RST_Pin|ISM43362_SPI3_CSN_Pin;
  GPIO_InitStruct.Mode = GPIO_MODE_OUTPUT_PP;
  GPIO_InitStruct.Pull = GPIO_NOPULL;
  GPIO_InitStruct.Speed = GPIO_SPEED_FREQ_LOW;
  HAL_GPIO_Init(GPIOE, &GPIO_InitStruct);

  /*Configure GPIO pins : USB_OTG_FS_OVRCR_EXTI3_Pin SPSGRF_915_GPIO3_EXTI5_Pin SPBTLE_RF_IRQ_EXTI6_Pin ISM43362_DRDY_EXTI1_Pin */
  GPIO_InitStruct.Pin = USB_OTG_FS_OVRCR_EXTI3_Pin|SPSGRF_915_GPIO3_EXTI5_Pin|SPBTLE_RF_IRQ_EXTI6_Pin|ISM43362_DRDY_EXTI1_Pin;
  GPIO_InitStruct.Mode = GPIO_MODE_IT_RISING;
  GPIO_InitStruct.Pull = GPIO_NOPULL;
  HAL_GPIO_Init(GPIOE, &GPIO_InitStruct);

  /*Configure GPIO pin : BUTTON_EXTI13_Pin */
  GPIO_InitStruct.Pin = BUTTON_EXTI13_Pin;
  GPIO_InitStruct.Mode = GPIO_MODE_IT_FALLING;
  GPIO_InitStruct.Pull = GPIO_NOPULL;
  HAL_GPIO_Init(BUTTON_EXTI13_GPIO_Port, &GPIO_InitStruct);

  /*Configure GPIO pins : ARD_A5_Pin ARD_A4_Pin ARD_A3_Pin ARD_A2_Pin
                           ARD_A1_Pin ARD_A0_Pin */
  GPIO_InitStruct.Pin = ARD_A5_Pin|ARD_A4_Pin|ARD_A3_Pin|ARD_A2_Pin
                          |ARD_A1_Pin|ARD_A0_Pin;
  GPIO_InitStruct.Mode = GPIO_MODE_ANALOG_ADC_CONTROL;
  GPIO_InitStruct.Pull = GPIO_NOPULL;
  HAL_GPIO_Init(GPIOC, &GPIO_InitStruct);

  /*Configure GPIO pins : ARD_D1_Pin ARD_D0_Pin */
  GPIO_InitStruct.Pin = ARD_D1_Pin|ARD_D0_Pin;
  GPIO_InitStruct.Mode = GPIO_MODE_AF_PP;
  GPIO_InitStruct.Pull = GPIO_NOPULL;
  GPIO_InitStruct.Speed = GPIO_SPEED_FREQ_VERY_HIGH;
  GPIO_InitStruct.Alternate = GPIO_AF8_UART4;
  HAL_GPIO_Init(GPIOA, &GPIO_InitStruct);

  /*Configure GPIO pins : ARD_D10_Pin SPBTLE_RF_RST_Pin ARD_D9_Pin */
  GPIO_InitStruct.Pin = ARD_D10_Pin|SPBTLE_RF_RST_Pin|ARD_D9_Pin;
  GPIO_InitStruct.Mode = GPIO_MODE_OUTPUT_PP;
  GPIO_InitStruct.Pull = GPIO_NOPULL;
  GPIO_InitStruct.Speed = GPIO_SPEED_FREQ_LOW;
  HAL_GPIO_Init(GPIOA, &GPIO_InitStruct);

  /*Configure GPIO pin : ARD_D4_Pin */
  GPIO_InitStruct.Pin = ARD_D4_Pin;
  GPIO_InitStruct.Mode = GPIO_MODE_AF_PP;
  GPIO_InitStruct.Pull = GPIO_NOPULL;
  GPIO_InitStruct.Speed = GPIO_SPEED_FREQ_LOW;
  GPIO_InitStruct.Alternate = GPIO_AF1_TIM2;
  HAL_GPIO_Init(ARD_D4_GPIO_Port, &GPIO_InitStruct);

  /*Configure GPIO pin : ARD_D7_Pin */
  GPIO_InitStruct.Pin = ARD_D7_Pin;
  GPIO_InitStruct.Mode = GPIO_MODE_ANALOG_ADC_CONTROL;
  GPIO_InitStruct.Pull = GPIO_NOPULL;
  HAL_GPIO_Init(ARD_D7_GPIO_Port, &GPIO_InitStruct);

  /*Configure GPIO pins : ARD_D13_Pin ARD_D12_Pin ARD_D11_Pin */
  GPIO_InitStruct.Pin = ARD_D13_Pin|ARD_D12_Pin|ARD_D11_Pin;
  GPIO_InitStruct.Mode = GPIO_MODE_AF_PP;
  GPIO_InitStruct.Pull = GPIO_NOPULL;
  GPIO_InitStruct.Speed = GPIO_SPEED_FREQ_VERY_HIGH;
  GPIO_InitStruct.Alternate = GPIO_AF5_SPI1;
  HAL_GPIO_Init(GPIOA, &GPIO_InitStruct);

  /*Configure GPIO pin : ARD_D3_Pin */
  GPIO_InitStruct.Pin = ARD_D3_Pin;
  GPIO_InitStruct.Mode = GPIO_MODE_IT_RISING;
  GPIO_InitStruct.Pull = GPIO_NOPULL;
  HAL_GPIO_Init(ARD_D3_GPIO_Port, &GPIO_InitStruct);

  /*Configure GPIO pin : ARD_D6_Pin */
  GPIO_InitStruct.Pin = ARD_D6_Pin;
  GPIO_InitStruct.Mode = GPIO_MODE_ANALOG_ADC_CONTROL;
  GPIO_InitStruct.Pull = GPIO_NOPULL;
  HAL_GPIO_Init(ARD_D6_GPIO_Port, &GPIO_InitStruct);

  /*Configure GPIO pins : ARD_D8_Pin ISM43362_BOOT0_Pin ISM43362_WAKEUP_Pin LED2_Pin
                           SPSGRF_915_SDN_Pin ARD_D5_Pin SPSGRF_915_SPI3_CSN_Pin */
  GPIO_InitStruct.Pin = ARD_D8_Pin|ISM43362_BOOT0_Pin|ISM43362_WAKEUP_Pin|LED2_Pin
                          |SPSGRF_915_SDN_Pin|ARD_D5_Pin|SPSGRF_915_SPI3_CSN_Pin;
  GPIO_InitStruct.Mode = GPIO_MODE_OUTPUT_PP;
  GPIO_InitStruct.Pull = GPIO_NOPULL;
  GPIO_InitStruct.Speed = GPIO_SPEED_FREQ_LOW;
  HAL_GPIO_Init(GPIOB, &GPIO_InitStruct);

  /*Configure GPIO pins : LPS22HB_INT_DRDY_EXTI0_Pin LSM6DSL_INT1_EXTI11_Pin ARD_D2_Pin HTS221_DRDY_EXTI15_Pin
                           PMOD_IRQ_EXTI12_Pin */
  GPIO_InitStruct.Pin = LPS22HB_INT_DRDY_EXTI0_Pin|LSM6DSL_INT1_EXTI11_Pin|ARD_D2_Pin|HTS221_DRDY_EXTI15_Pin
                          |PMOD_IRQ_EXTI12_Pin;
  GPIO_InitStruct.Mode = GPIO_MODE_IT_RISING;
  GPIO_InitStruct.Pull = GPIO_NOPULL;
  HAL_GPIO_Init(GPIOD, &GPIO_InitStruct);

  /*Configure GPIO pins : USB_OTG_FS_PWR_EN_Pin SPBTLE_RF_SPI3_CSN_Pin PMOD_RESET_Pin STSAFE_A100_RESET_Pin */
  GPIO_InitStruct.Pin = USB_OTG_FS_PWR_EN_Pin|SPBTLE_RF_SPI3_CSN_Pin|PMOD_RESET_Pin|STSAFE_A100_RESET_Pin;
  GPIO_InitStruct.Mode = GPIO_MODE_OUTPUT_PP;
  GPIO_InitStruct.Pull = GPIO_NOPULL;
  GPIO_InitStruct.Speed = GPIO_SPEED_FREQ_LOW;
  HAL_GPIO_Init(GPIOD, &GPIO_InitStruct);

  /*Configure GPIO pins : VL53L0X_XSHUT_Pin LED3_WIFI__LED4_BLE_Pin */
  GPIO_InitStruct.Pin = VL53L0X_XSHUT_Pin|LED3_WIFI__LED4_BLE_Pin;
  GPIO_InitStruct.Mode = GPIO_MODE_OUTPUT_PP;
  GPIO_InitStruct.Pull = GPIO_NOPULL;
  GPIO_InitStruct.Speed = GPIO_SPEED_FREQ_LOW;
  HAL_GPIO_Init(GPIOC, &GPIO_InitStruct);

  /*Configure GPIO pins : VL53L0X_GPIO1_EXTI7_Pin LSM3MDL_DRDY_EXTI8_Pin */
  GPIO_InitStruct.Pin = VL53L0X_GPIO1_EXTI7_Pin|LSM3MDL_DRDY_EXTI8_Pin;
  GPIO_InitStruct.Mode = GPIO_MODE_IT_RISING;
  GPIO_InitStruct.Pull = GPIO_NOPULL;
  HAL_GPIO_Init(GPIOC, &GPIO_InitStruct);

  /*Configure GPIO pin : PMOD_SPI2_SCK_Pin */
  GPIO_InitStruct.Pin = PMOD_SPI2_SCK_Pin;
  GPIO_InitStruct.Mode = GPIO_MODE_AF_PP;
  GPIO_InitStruct.Pull = GPIO_NOPULL;
  GPIO_InitStruct.Speed = GPIO_SPEED_FREQ_VERY_HIGH;
  GPIO_InitStruct.Alternate = GPIO_AF5_SPI2;
  HAL_GPIO_Init(PMOD_SPI2_SCK_GPIO_Port, &GPIO_InitStruct);

  /*Configure GPIO pins : PMOD_UART2_CTS_Pin PMOD_UART2_RTS_Pin PMOD_UART2_TX_Pin PMOD_UART2_RX_Pin */
  GPIO_InitStruct.Pin = PMOD_UART2_CTS_Pin|PMOD_UART2_RTS_Pin|PMOD_UART2_TX_Pin|PMOD_UART2_RX_Pin;
  GPIO_InitStruct.Mode = GPIO_MODE_AF_PP;
  GPIO_InitStruct.Pull = GPIO_NOPULL;
  GPIO_InitStruct.Speed = GPIO_SPEED_FREQ_VERY_HIGH;
  GPIO_InitStruct.Alternate = GPIO_AF7_USART2;
  HAL_GPIO_Init(GPIOD, &GPIO_InitStruct);

  /*Configure GPIO pins : ARD_D15_Pin ARD_D14_Pin */
  GPIO_InitStruct.Pin = ARD_D15_Pin|ARD_D14_Pin;
  GPIO_InitStruct.Mode = GPIO_MODE_AF_OD;
  GPIO_InitStruct.Pull = GPIO_NOPULL;
  GPIO_InitStruct.Speed = GPIO_SPEED_FREQ_VERY_HIGH;
  GPIO_InitStruct.Alternate = GPIO_AF4_I2C1;
  HAL_GPIO_Init(GPIOB, &GPIO_InitStruct);

  /* EXTI interrupt init*/
  HAL_NVIC_SetPriority(EXTI9_5_IRQn, 0, 0);
  HAL_NVIC_EnableIRQ(EXTI9_5_IRQn);

  HAL_NVIC_SetPriority(EXTI15_10_IRQn, 0, 0);
  HAL_NVIC_EnableIRQ(EXTI15_10_IRQn);

}

/* USER CODE BEGIN 4 */
float mean(int16_t* buf, int len){
    int32_t sum=0;
    for(int i=0;i<len;i++){
        sum+=buf[i];
    }
    return sum / (float)len;
}
int16_t amplitude(int16_t* buf, int len){
    int16_t maxamp=0;
    for(int i=0;i<len;i++){
        if(abs(buf[i]) > maxamp){
            maxamp = abs(buf[i]);
        }
    }
    return maxamp;
}
void HAL_DFSDM_FilterRegConvHalfCpltCallback(
    DFSDM_Filter_HandleTypeDef *hdfsdm_filter) {
  if ((hdfsdm_filter == &hdfsdm1_filter1)) {
    double_buffer_chunk(&input_buf_l[0], DMA_HALF_CHUNK_SIZE);
  }
}
void HAL_DFSDM_FilterRegConvCpltCallback(
    DFSDM_Filter_HandleTypeDef *hdfsdm_filter) {
  if ((hdfsdm_filter == &hdfsdm1_filter1)) {
    double_buffer_chunk(&input_buf_l[DMA_HALF_CHUNK_SIZE], DMA_HALF_CHUNK_SIZE);
  }
}
/* USER CODE END 4 */

void Error_Handler(void)
{
  __disable_irq();
  while (1)
  {
  }
}
